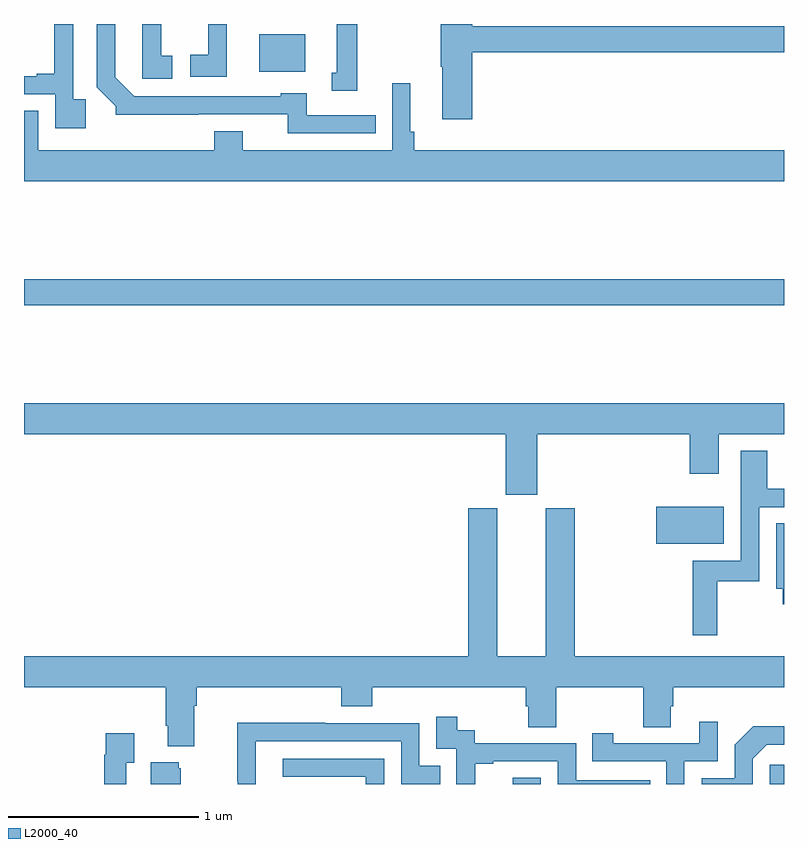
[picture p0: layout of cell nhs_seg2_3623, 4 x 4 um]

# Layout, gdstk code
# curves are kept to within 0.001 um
import gdstk
lib = gdstk.Library(unit=1e-6, precision=1e-09)
def R(c, l, rs):  # rectangles x0, y0, x1, y1
    for r in rs: c.add(gdstk.rectangle(r[:2], r[2:], *l))
def P(c, l, *ps):  # polygons
    for p in ps: c.add(gdstk.Polygon(p, *l))
L2000_40 = (2000, 40)

nhs_seg2_3623 = lib.new_cell('nhs_seg2_3623')
R(nhs_seg2_3623, L2000_40, [(303.573,641.8,303.72,641.833), (304.926,641.8,305,641.902), (304.328,643.064,304.684,643.258), (301,644.32,305,644.456), (302.237,645.548,302.479,645.745)])
P(nhs_seg2_3623, L2000_40, [(303.359,645.652),(305,645.652),(305,645.788),(303.359,645.788),(303.359,645.8),(303.193,645.8),(303.193,645.575),(303.2,645.575),(303.2,645.3),(303.359,645.3)],
  [(302.852,645.321),(302.488,645.321),(302.488,645.436),(302.352,645.436),(302.352,645.42),(301.581,645.42),(301.48,645.521),(301.48,645.8),(301.383,645.8),(301.383,645.466),(301.482,645.367),(301.482,645.323),(302.389,645.324),(302.389,645.225),(302.852,645.225)],
  [(302.755,645.8),(302.645,645.8),(302.645,645.543),(302.621,645.543),(302.621,645.449),(302.755,645.449)],
  [(302.068,645.8),(301.969,645.8),(301.969,645.638),(301.875,645.638),(301.875,645.522),(302.068,645.522)],
  [(301.325,645.403),(301.26,645.403),(301.26,645.8),(301.159,645.8),(301.159,645.538),(301.067,645.538),(301.067,645.525),(301,645.525),(301,645.429),(301.164,645.429),(301.164,645.252),(301.325,645.252)],
  [(301.78,645.633),(301.722,645.633),(301.722,645.8),(301.623,645.8),(301.623,645.788),(301.622,645.788),(301.622,645.513),(301.78,645.513)],
  [(305,645.136),(303.053,645.136),(303.053,645.232),(303.034,645.232),(303.034,645.487),(302.937,645.487),(302.937,645.136),(302.152,645.136),(302.152,645.235),(302,645.235),(302,645.136),(301.075,645.136),(301.075,645.344),(301,645.344),(301,644.972),(305,644.972)],
  [(303.7,643.64),(304.505,643.64),(304.505,643.434),(304.657,643.434),(304.657,643.64),(305,643.64),(305,643.804),(301,643.804),(301,643.64),(303.536,643.64),(303.536,643.323),(303.7,643.323)],
  [(304.648,642.867),(304.869,642.867),(304.869,643.257),(305,643.257),(305,643.353),(304.912,643.353),(304.912,643.555),(304.773,643.555),(304.773,642.975),(304.519,642.975),(304.519,642.582),(304.648,642.582)],
  [(301.897,642.212),(301.91,642.212),(301.91,642.308),(302.669,642.308),(302.669,642.209),(302.834,642.209),(302.834,642.308),(303.641,642.308),(303.641,642.21),(303.653,642.21),(303.653,642.1),(303.801,642.1),(303.801,642.308),(304.258,642.308),(304.258,642.1),(304.405,642.1),(304.405,642.21),(304.418,642.21),(304.418,642.308),(305,642.308),(305,642.472),(303.899,642.472),(303.899,643.251),(303.746,643.251),(303.746,642.472),(303.49,642.472),(303.49,643.251),(303.338,643.251),(303.338,642.472),(301,642.472),(301,642.308),(301.745,642.308),(301.745,642.106),(301.757,642.106),(301.757,641.999),(301.897,641.999)],
  [(305,643.172),(304.958,643.172),(304.958,642.827),(304.993,642.827),(304.993,642.747),(305,642.747)],
  [(303.374,641.907),(303.469,641.907),(303.469,641.919),(303.81,641.919),(303.81,641.8),(304.295,641.8),(304.295,641.82),(303.906,641.82),(303.906,642.015),(303.372,642.015),(303.372,642.084),(303.28,642.084),(303.28,642.154),(303.171,642.154),(303.171,641.985),(303.276,641.985),(303.276,641.8),(303.374,641.8)],
  [(304.476,641.919),(304.65,641.919),(304.65,642.127),(304.553,642.127),(304.553,642.015),(304.102,642.015),(304.102,642.067),(303.991,642.067),(303.991,641.919),(304.38,641.919),(304.38,641.8),(304.476,641.8)],
  [(302.221,642.024),(302.985,642.024),(302.985,641.8),(303.191,641.8),(303.191,641.895),(303.081,641.895),(303.081,642.12),(302.585,642.12),(302.585,642.122),(302.122,642.122),(302.122,641.815),(302.124,641.815),(302.124,641.8),(302.221,641.8)],
  [(304.836,641.934),(304.908,642.006),(305,642.006),(305,642.104),(304.838,642.104),(304.74,642.006),(304.74,641.829),(304.566,641.829),(304.566,641.8),(304.836,641.8)],
  [(301.539,641.911),(301.579,641.911),(301.579,642.067),(301.431,642.067),(301.431,641.954),(301.423,641.954),(301.423,641.8),(301.539,641.8)],
  [(302.895,641.934),(302.361,641.934),(302.361,641.838),(302.799,641.838),(302.799,641.8),(302.895,641.8)],
  [(301.825,641.883),(301.814,641.883),(301.814,641.914),(301.667,641.914),(301.667,641.8),(301.825,641.8)])

lib.write_gds('nhs_seg2_3623.gds')
